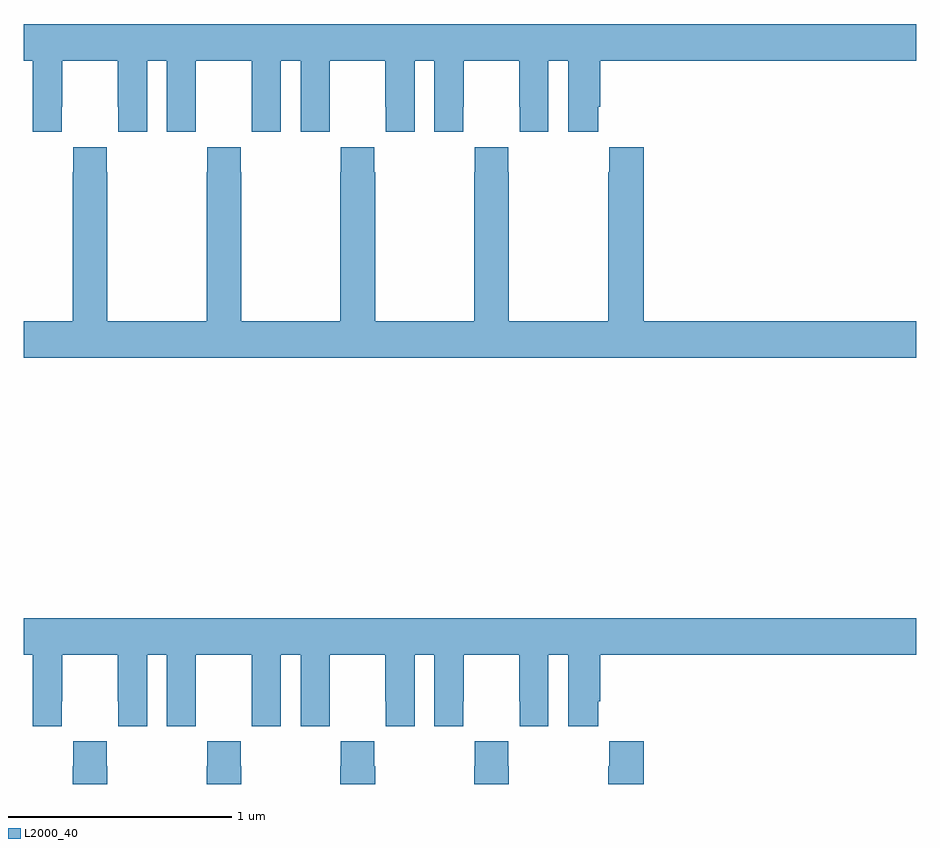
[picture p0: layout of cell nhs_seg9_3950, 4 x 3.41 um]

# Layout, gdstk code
import gdstk
lib = gdstk.Library(unit=1e-6, precision=1e-09)
def P(c, l, *ps):  # polygons
    for p in ps: c.add(gdstk.Polygon(p, *l))
L2000_40 = (2000, 40)

nhs_seg9_3950 = lib.new_cell('nhs_seg9_3950')
P(nhs_seg9_3950, L2000_40, [(337.17,1205.536),(337.171,1205.536),(337.171,1205.744),(337.421,1205.744),(337.421,1205.536),(337.422,1205.536),(337.422,1205.424),(337.552,1205.424),(337.552,1205.744),(337.64,1205.744),(337.64,1205.424),(337.77,1205.424),(337.77,1205.536),(337.771,1205.536),(337.771,1205.744),(338.021,1205.744),(338.021,1205.536),(338.022,1205.536),(338.022,1205.424),(338.152,1205.424),(338.152,1205.744),(338.24,1205.744),(338.24,1205.424),(338.37,1205.424),(338.37,1205.536),(338.371,1205.536),(338.371,1205.744),(338.621,1205.744),(338.621,1205.536),(338.622,1205.536),(338.622,1205.424),(338.752,1205.424),(338.752,1205.744),(338.84,1205.744),(338.84,1205.424),(338.97,1205.424),(338.97,1205.536),(338.971,1205.536),(338.971,1205.744),(339.221,1205.744),(339.221,1205.536),(339.222,1205.536),(339.222,1205.424),(339.352,1205.424),(339.352,1205.744),(339.44,1205.744),(339.44,1205.424),(339.574,1205.424),(339.574,1205.536),(339.584,1205.536),(339.584,1205.744),(341,1205.744),(341,1205.908),(337,1205.908),(337,1205.744),(337.04,1205.744),(337.04,1205.424),(337.17,1205.424)],
  [(341,1204.576),(339.779,1204.576),(339.779,1205.356),(339.625,1205.356),(339.625,1205.243),(339.619,1205.243),(339.619,1204.576),(339.174,1204.576),(339.174,1205.243),(339.171,1205.243),(339.171,1205.356),(339.021,1205.356),(339.021,1205.243),(339.019,1205.243),(339.019,1204.576),(338.574,1204.576),(338.574,1205.243),(338.571,1205.243),(338.571,1205.356),(338.421,1205.356),(338.421,1205.243),(338.419,1205.243),(338.419,1204.576),(337.974,1204.576),(337.974,1205.243),(337.971,1205.243),(337.971,1205.356),(337.821,1205.356),(337.821,1205.243),(337.819,1205.243),(337.819,1204.576),(337.374,1204.576),(337.374,1205.243),(337.371,1205.243),(337.371,1205.356),(337.221,1205.356),(337.221,1205.243),(337.219,1205.243),(337.219,1204.576),(337,1204.576),(337,1204.412),(341,1204.412)],
  [(337.17,1202.872),(337.171,1202.872),(337.171,1203.08),(337.421,1203.08),(337.421,1202.872),(337.422,1202.872),(337.422,1202.76),(337.552,1202.76),(337.552,1203.08),(337.64,1203.08),(337.64,1202.76),(337.77,1202.76),(337.77,1202.872),(337.771,1202.872),(337.771,1203.08),(338.021,1203.08),(338.021,1202.872),(338.022,1202.872),(338.022,1202.76),(338.152,1202.76),(338.152,1203.08),(338.24,1203.08),(338.24,1202.76),(338.37,1202.76),(338.37,1202.872),(338.371,1202.872),(338.371,1203.08),(338.621,1203.08),(338.621,1202.872),(338.622,1202.872),(338.622,1202.76),(338.752,1202.76),(338.752,1203.08),(338.84,1203.08),(338.84,1202.76),(338.97,1202.76),(338.97,1202.872),(338.971,1202.872),(338.971,1203.08),(339.221,1203.08),(339.221,1202.872),(339.222,1202.872),(339.222,1202.76),(339.352,1202.76),(339.352,1203.08),(339.44,1203.08),(339.44,1202.76),(339.574,1202.76),(339.574,1202.872),(339.584,1202.872),(339.584,1203.08),(341,1203.08),(341,1203.244),(337,1203.244),(337,1203.08),(337.04,1203.08),(337.04,1202.76),(337.17,1202.76)],
  [(339.779,1202.692),(339.625,1202.692),(339.625,1202.579),(339.619,1202.579),(339.619,1202.5),(339.779,1202.5)],
  [(339.174,1202.579),(339.171,1202.579),(339.171,1202.692),(339.021,1202.692),(339.021,1202.579),(339.019,1202.579),(339.019,1202.5),(339.174,1202.5)],
  [(337.974,1202.579),(337.971,1202.579),(337.971,1202.692),(337.821,1202.692),(337.821,1202.579),(337.819,1202.579),(337.819,1202.5),(337.974,1202.5)],
  [(337.374,1202.579),(337.371,1202.579),(337.371,1202.692),(337.221,1202.692),(337.221,1202.579),(337.219,1202.579),(337.219,1202.5),(337.374,1202.5)],
  [(338.574,1202.579),(338.571,1202.579),(338.571,1202.692),(338.421,1202.692),(338.421,1202.579),(338.419,1202.579),(338.419,1202.5),(338.574,1202.5)])

lib.write_gds('nhs_seg9_3950.gds')
